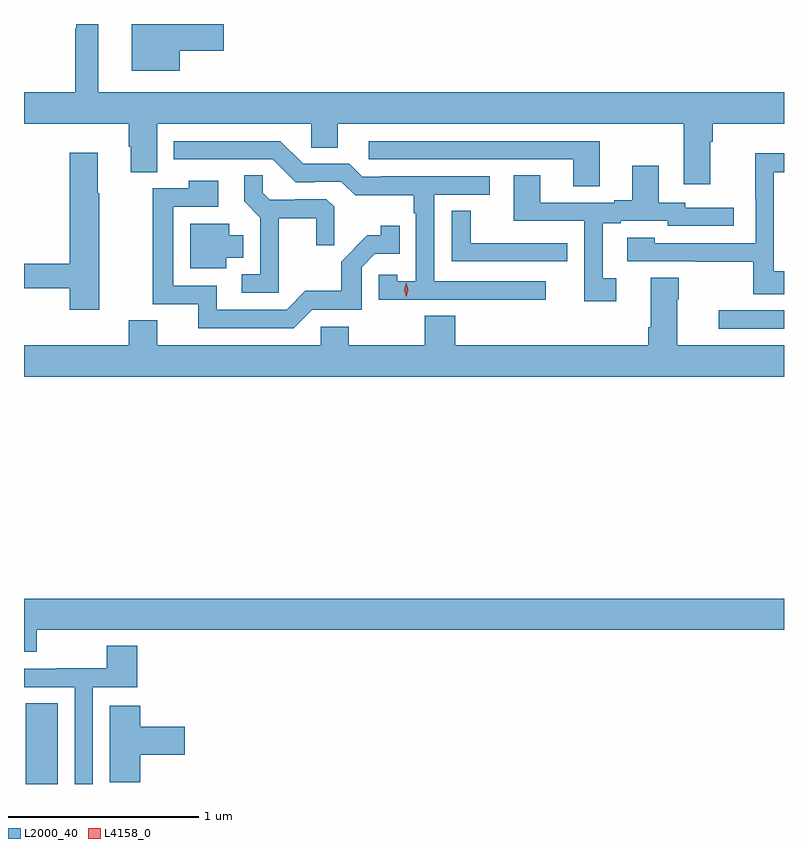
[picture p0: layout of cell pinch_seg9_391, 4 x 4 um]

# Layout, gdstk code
import gdstk
lib = gdstk.Library(unit=1e-6, precision=1e-09)
def R(c, l, rs):  # rectangles x0, y0, x1, y1
    for r in rs: c.add(gdstk.rectangle(r[:2], r[2:], *l))
def P(c, l, *ps):  # polygons
    for p in ps: c.add(gdstk.Polygon(p, *l))
L2000_40 = (2000, 40)
L4158_0 = (4158, 0)

pinch_seg9_391 = lib.new_cell('pinch_seg9_391')
R(pinch_seg9_391, L2000_40, [(347.381,1211.592,347.548,1212.017), (351.027,1213.989,351.371,1214.085)])
P(pinch_seg9_391, L2000_40, [(348.19,1215.452),(348.421,1215.452),(348.421,1215.592),(347.939,1215.592),(347.939,1215.347),(348.19,1215.347)],
  [(350.983,1214.972),(350.996,1214.972),(350.996,1215.068),(351.371,1215.068),(351.371,1215.232),(347.761,1215.232),(347.761,1215.592),(347.646,1215.592),(347.646,1215.569),(347.64,1215.569),(347.64,1215.232),(347.371,1215.232),(347.371,1215.068),(347.921,1215.068),(347.921,1214.946),(347.933,1214.946),(347.933,1214.812),(348.073,1214.812),(348.073,1215.068),(348.882,1215.068),(348.882,1214.941),(349.021,1214.941),(349.021,1215.068),(350.843,1215.068),(350.843,1214.748),(350.983,1214.748)],
  [(350.116,1214.238),(349.53,1214.238),(349.53,1214.694),(349.822,1214.694),(349.822,1214.79),(349.252,1214.79),(349.252,1214.787),(349.152,1214.787),(349.083,1214.856),(348.84,1214.856),(348.72,1214.976),(348.158,1214.976),(348.158,1214.88),(348.681,1214.88),(348.801,1214.76),(348.902,1214.76),(348.902,1214.763),(349.041,1214.763),(349.114,1214.69),(349.422,1214.69),(349.422,1214.597),(349.434,1214.597),(349.434,1214.239),(349.335,1214.239),(349.335,1214.271),(349.239,1214.271),(349.239,1214.142),(349.723,1214.142),(349.723,1214.14),(350.116,1214.14)],
  [(350.401,1214.976),(349.185,1214.976),(349.185,1214.88),(350.261,1214.88),(350.261,1214.737),(350.401,1214.737)],
  [(347.766,1214.701),(347.758,1214.701),(347.758,1214.914),(347.612,1214.914),(347.612,1214.33),(347.371,1214.33),(347.371,1214.202),(347.612,1214.202),(347.612,1214.088),(347.766,1214.088)],
  [(351.371,1214.292),(351.318,1214.292),(351.318,1214.813),(351.371,1214.813),(351.371,1214.911),(351.22,1214.911),(351.22,1214.672),(351.222,1214.672),(351.222,1214.439),(350.691,1214.439),(350.691,1214.467),(350.547,1214.467),(350.547,1214.343),(350.905,1214.343),(350.905,1214.341),(351.21,1214.341),(351.21,1214.17),(351.371,1214.17)],
  [(350.488,1214.253),(350.416,1214.253),(350.416,1214.544),(350.512,1214.544),(350.512,1214.556),(350.76,1214.556),(350.76,1214.529),(351.106,1214.529),(351.106,1214.625),(350.85,1214.625),(350.85,1214.652),(350.713,1214.652),(350.713,1214.845),(350.573,1214.845),(350.573,1214.665),(350.477,1214.665),(350.477,1214.652),(350.089,1214.652),(350.089,1214.795),(349.949,1214.795),(349.949,1214.556),(350.319,1214.556),(350.319,1214.133),(350.488,1214.133)],
  [(348.713,1214.57),(348.91,1214.57),(348.91,1214.427),(349.004,1214.427),(349.004,1214.629),(348.963,1214.67),(348.798,1214.67),(348.798,1214.667),(348.664,1214.667),(348.627,1214.704),(348.627,1214.795),(348.529,1214.795),(348.529,1214.659),(348.615,1214.573),(348.615,1214.274),(348.516,1214.274),(348.516,1214.178),(348.713,1214.178)],
  [(348.888,1214.088),(349.149,1214.088),(349.149,1214.313),(349.218,1214.382),(349.349,1214.382),(349.349,1214.53),(349.248,1214.53),(349.248,1214.48),(349.178,1214.48),(349.041,1214.342),(349.041,1214.187),(348.852,1214.187),(348.753,1214.088),(348.385,1214.088),(348.385,1214.214),(348.156,1214.214),(348.156,1214.631),(348.394,1214.631),(348.394,1214.767),(348.238,1214.767),(348.238,1214.727),(348.048,1214.727),(348.048,1214.118),(348.287,1214.118),(348.287,1213.992),(348.792,1213.992)],
  [(350.23,1214.438),(350.117,1214.438),(350.117,1214.439),(349.722,1214.439),(349.722,1214.609),(349.623,1214.609),(349.623,1214.343),(350.23,1214.343)],
  [(348.436,1214.363),(348.526,1214.363),(348.526,1214.479),(348.451,1214.479),(348.451,1214.542),(348.245,1214.542),(348.245,1214.306),(348.436,1214.306)],
  [(351.371,1213.9),(350.809,1213.9),(350.809,1214.144),(350.817,1214.144),(350.817,1214.257),(350.669,1214.257),(350.669,1213.996),(350.657,1213.996),(350.657,1213.9),(349.64,1213.9),(349.64,1214.057),(349.48,1214.057),(349.48,1213.9),(349.08,1213.9),(349.08,1213.998),(348.933,1213.998),(348.933,1213.9),(348.073,1213.9),(348.073,1214.033),(347.921,1214.033),(347.921,1213.9),(347.371,1213.9),(347.371,1213.736),(351.371,1213.736)],
  [(347.439,1212.404),(351.371,1212.404),(351.371,1212.568),(347.371,1212.568),(347.371,1212.287),(347.439,1212.287)],
  [(347.733,1212.102),(347.966,1212.102),(347.966,1212.319),(347.806,1212.319),(347.806,1212.2),(347.54,1212.2),(347.54,1212.198),(347.371,1212.198),(347.371,1212.102),(347.637,1212.102),(347.637,1211.592),(347.733,1211.592)],
  [(347.984,1211.747),(348.217,1211.747),(348.217,1211.894),(347.984,1211.894),(347.984,1212.004),(347.822,1212.004),(347.822,1211.601),(347.984,1211.601)])
P(pinch_seg9_391, L4158_0, [(349.384,1214.157),(349.384,1214.157),(349.373,1214.193),(349.382,1214.229),(349.383,1214.23),(349.383,1214.229),(349.393,1214.194),(349.384,1214.157)])

lib.write_gds('pinch_seg9_391.gds')
